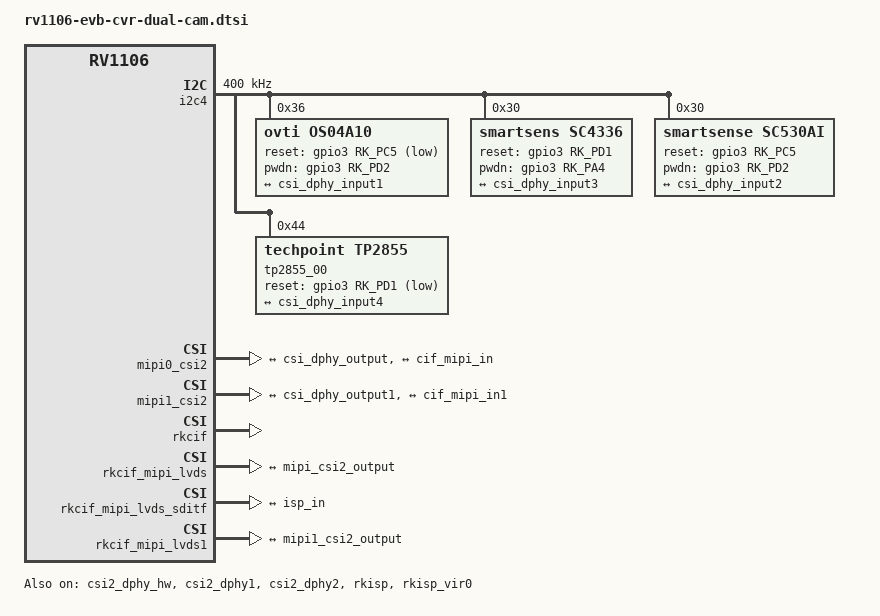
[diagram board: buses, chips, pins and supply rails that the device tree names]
// SPDX-License-Identifier: (GPL-2.0+ OR MIT)
/*
 * Copyright (c) 2023 Rockchip Electronics Co., Ltd.
 *
 * Version  Sensor  I2C_ADDR   Lanes
 * v1.0.0   sc530ai   0x30    lane0~1(dphy1)
 *          tp2855    0x44    lane2~3(dphy2)
 */

&csi2_dphy_hw {
	status = "okay";
};

&csi2_dphy1 {
	status = "okay";

	ports {
		#address-cells = <1>;
		#size-cells = <0>;

		port@0 {
			reg = <0>;
			#address-cells = <1>;
			#size-cells = <0>;

			csi_dphy_input1: endpoint@1 {
				reg = <1>;
				remote-endpoint = <&os04a10_out>;
				data-lanes = <1 2>;
			};
			csi_dphy_input2: endpoint@2 {
				reg = <2>;
				remote-endpoint = <&sc530ai_out>;
				data-lanes = <1 2>;
			};
		};

		port@1 {
			reg = <1>;
			#address-cells = <1>;
			#size-cells = <0>;

			csi_dphy_output: endpoint@0 {
				reg = <0>;
				remote-endpoint = <&mipi_csi2_input>;
			};
		};
	};
};

&csi2_dphy2 {
	status = "okay";

	ports {
		#address-cells = <1>;
		#size-cells = <0>;

		port@0 {
			reg = <0>;
			#address-cells = <1>;
			#size-cells = <0>;

			csi_dphy_input3: endpoint@3 {
				reg = <3>;
				remote-endpoint = <&sc4336_out>;
				data-lanes = <1 2>;
			};
			csi_dphy_input4: endpoint@4 {
				reg = <4>;
				remote-endpoint = <&tp2855_out>;
				data-lanes = <1 2>;
			};
		};

		port@1 {
			reg = <1>;
			#address-cells = <1>;
			#size-cells = <0>;

			csi_dphy_output1: endpoint@0 {
				reg = <0>;
				remote-endpoint = <&mipi1_csi2_input>;
			};
		};
	};
};

&i2c4 {
	status = "okay";
	clock-frequency = <400000>;
	pinctrl-names = "default";
	pinctrl-0 = <&i2c4m2_xfer>;

	os04a10: os04a10@36 {
		compatible = "ovti,os04a10";
		status = "okay";
		reg = <0x36>;
		clocks = <&cru MCLK_REF_MIPI0>;
		clock-names = "xvclk";
		reset-gpios = <&gpio3 RK_PC5 GPIO_ACTIVE_LOW>;
		pwdn-gpios = <&gpio3 RK_PD2 GPIO_ACTIVE_HIGH>;
		pinctrl-names = "default";
		pinctrl-0 = <&mipi_refclk_out0>;
		rockchip,camera-module-index = <0>;
		rockchip,camera-module-facing = "back";
		rockchip,camera-module-name = "CMK-OT1607-PV1";
		rockchip,camera-module-lens-name = "50IRC-F16";
		port {
			os04a10_out: endpoint {
				remote-endpoint = <&csi_dphy_input1>;
				data-lanes = <1 2>;
			};
		};
	};

	sc4336: sc4336@30 {
		compatible = "smartsens,sc4336";
		status = "okay";
		reg = <0x30>;
		clocks = <&cru MCLK_REF_MIPI1>;
		clock-names = "xvclk";
		reset-gpios = <&gpio3 RK_PD1 GPIO_ACTIVE_HIGH>;
		pwdn-gpios = <&gpio3 RK_PA4 GPIO_ACTIVE_HIGH>;
		pinctrl-names = "default";
		pinctrl-0 = <&mipi_refclk_out1>;
		rockchip,camera-module-index = <1>;
		rockchip,camera-module-facing = "back";
		rockchip,camera-module-name = "OT01";
		rockchip,camera-module-lens-name = "40IRC_F16";
		port {
			sc4336_out: endpoint {
				remote-endpoint = <&csi_dphy_input3>;
				data-lanes = <1 2>;
			};
		};
	};

	sc530ai: sc530ai@30 {
		compatible = "smartsense,sc530ai";
		status = "okay";
		reg = <0x30>;
		clocks = <&cru MCLK_REF_MIPI0>;
		clock-names = "xvclk";
		reset-gpios = <&gpio3 RK_PC5 GPIO_ACTIVE_HIGH>;
		pwdn-gpios = <&gpio3 RK_PD2 GPIO_ACTIVE_HIGH>;
		pinctrl-names = "default";
		pinctrl-0 = <&mipi_refclk_out0>;
		rockchip,camera-module-index = <0>;
		rockchip,camera-module-facing = "back";
		rockchip,camera-module-name = "CMK-OT1607-PV1";
		rockchip,camera-module-lens-name = "50IRC-F16";
		port {
			sc530ai_out: endpoint {
				remote-endpoint = <&csi_dphy_input2>;
				data-lanes = <1 2>;
			};
		};
	};

	tp2855_00: tp2855_00@44 {
		compatible = "techpoint,tp2855";
		status = "okay";
		reg = <0x44>;
		clocks = <&cru MCLK_REF_MIPI1>;
		clock-names = "xvclk";
		reset-gpios = <&gpio3 RK_PD1 GPIO_ACTIVE_LOW>;
		pinctrl-names = "default";
		pinctrl-0 = <&mipi_refclk_out1>;
		rockchip,camera-module-index = <1>;
		rockchip,camera-module-facing = "front";
		rockchip,camera-module-name = "tp2855";
		rockchip,camera-module-lens-name = "tp2855";
		port {
			tp2855_out: endpoint {
				remote-endpoint = <&csi_dphy_input4>;
				data-lanes = <1 2>;
			};
		};
	};
};

&mipi0_csi2 {
	status = "okay";

	ports {
		#address-cells = <1>;
		#size-cells = <0>;

		port@0 {
			reg = <0>;
			#address-cells = <1>;
			#size-cells = <0>;

			mipi_csi2_input: endpoint@1 {
				reg = <1>;
				remote-endpoint = <&csi_dphy_output>;
			};
		};

		port@1 {
			reg = <1>;
			#address-cells = <1>;
			#size-cells = <0>;

			mipi_csi2_output: endpoint@0 {
				reg = <0>;
				remote-endpoint = <&cif_mipi_in>;
			};
		};
	};
};

&mipi1_csi2 {
	status = "okay";

	ports {
		#address-cells = <1>;
		#size-cells = <0>;

		port@0 {
			reg = <0>;
			#address-cells = <1>;
			#size-cells = <0>;

			mipi1_csi2_input: endpoint@1 {
				reg = <1>;
				remote-endpoint = <&csi_dphy_output1>;
			};
		};

		port@1 {
			reg = <1>;
			#address-cells = <1>;
			#size-cells = <0>;

			mipi1_csi2_output: endpoint@0 {
				reg = <0>;
				remote-endpoint = <&cif_mipi_in1>;
			};
		};
	};
};

&rkcif {
	status = "okay";
	pinctrl-names = "default";
	pinctrl-0 = <&mipi_pins>;
};

&rkcif_mipi_lvds {
	status = "okay";

	port {
		/* MIPI CSI-2 endpoint */
		cif_mipi_in: endpoint {
			remote-endpoint = <&mipi_csi2_output>;
		};
	};
};

&rkcif_mipi_lvds_sditf {
	status = "okay";

	port {
		/* MIPI CSI-2 endpoint */
		mipi_lvds_sditf: endpoint {
			remote-endpoint = <&isp_in>;
		};
	};
};

&rkcif_mipi_lvds1 {
	status = "okay";

	port {
		/* MIPI CSI-2 endpoint */
		cif_mipi_in1: endpoint {
			remote-endpoint = <&mipi1_csi2_output>;
		};
	};
};

&rkisp {
	status = "okay";
};

&rkisp_vir0 {
	status = "okay";

	port@0 {
		isp_in: endpoint {
			remote-endpoint = <&mipi_lvds_sditf>;
		};
	};
};

